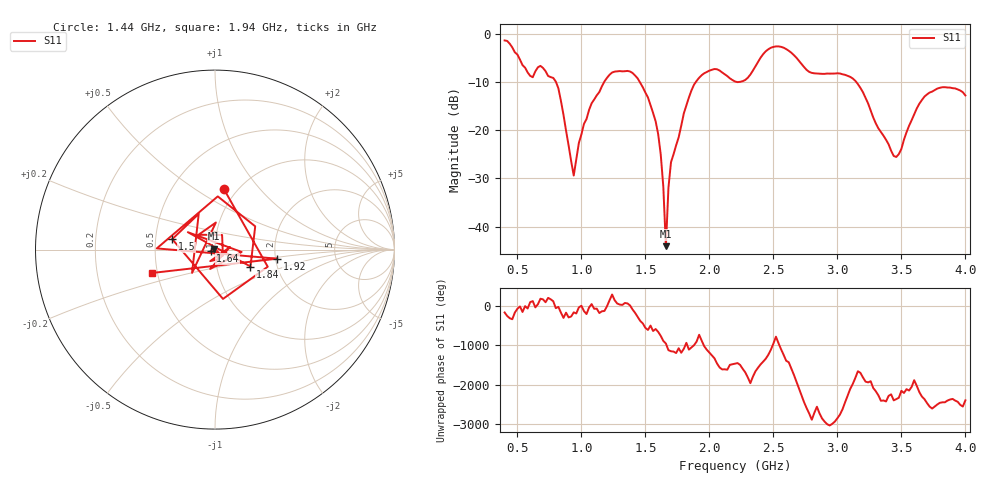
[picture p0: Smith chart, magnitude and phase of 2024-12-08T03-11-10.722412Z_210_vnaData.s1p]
!Created with skrf (http://scikit-rf.org).
# Hz S RI R 50.0
!freq ReS11 ImS11
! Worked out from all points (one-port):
!   181 points, 400 MHz to 4 GHz, reference 50 ohm
!   lowest |S11| = -44.1 dB at 1.66 GHz (marker M1), VSWR 1.01, Z = 49.6 + j0.478 ohm
!   |S11| at or under -10 dB: 801.2 MHz to 1.178 GHz (376.8 MHz wide, 38.1 % of centre); 1.456 GHz to 1.894 GHz (438.6 MHz wide, 26.2 % of centre); 3.147 GHz to end of sweep (the widest 3 of 4)
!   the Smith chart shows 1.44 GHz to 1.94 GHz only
!   S11 on the Smith chart (normalised r, x): 1.44 GHz: 0.86, +0.67; 1.5 GHz: 0.61, +0.08; 1.64 GHz: 0.95, -0.01; 1.84 GHz: 1.46, -0.29; 1.92 GHz: 2.04, -0.24; 1.94 GHz: 0.47, -0.14
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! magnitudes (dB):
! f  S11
! 400 MHz  -1.4
! 600 MHz  -8.7
! 680 MHz  -6.7
! 780 MHz  -9.2
! 860 MHz  -16.8
! 940 MHz  -29.4
! 980 MHz  -22.7
! 1.08 GHz  -14.4
! 1.3 GHz  -7.7
! 1.44 GHz  -9.3
! 1.5 GHz  -12.2
! 1.6 GHz  -20.9
! 1.64 GHz  -31.8
! 1.66 GHz  -44.1
! 1.68 GHz  -31.9
! 1.7 GHz  -26.6
! 1.76 GHz  -21.5
! 1.84 GHz  -13.2
! 1.92 GHz  -9.1
! 1.94 GHz  -8.6
! 2.2 GHz  -9.9
! 2.48 GHz  -2.9
! 2.66 GHz  -4.4
! 3.1 GHz  -8.9
! 3.44 GHz  -25.4
! 3.56 GHz  -19.1
! 3.72 GHz  -12.2
! 4 GHz  -12.8
